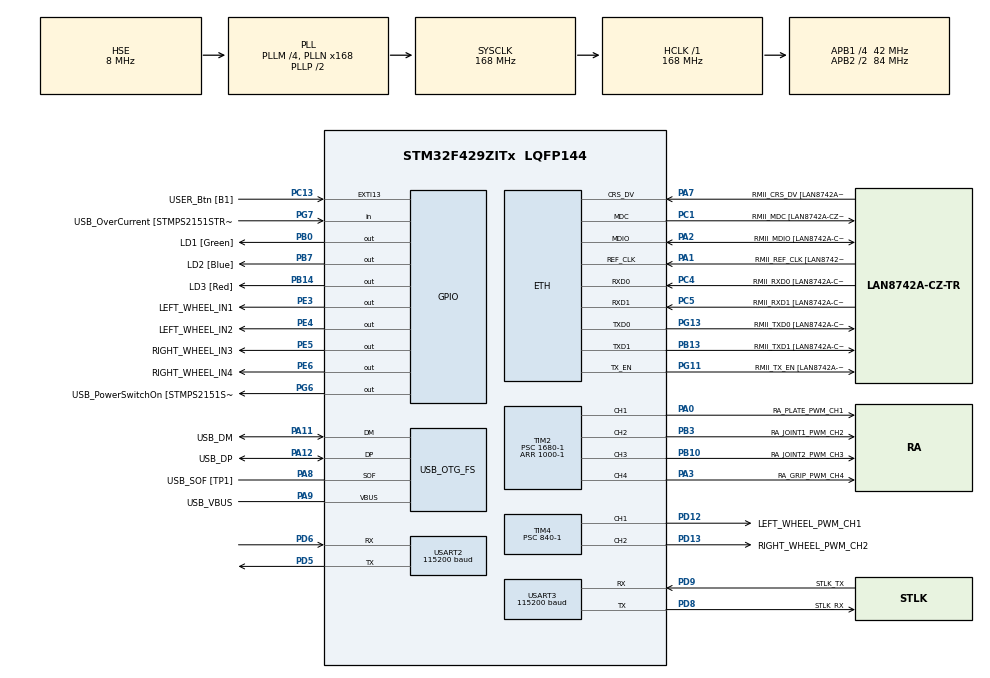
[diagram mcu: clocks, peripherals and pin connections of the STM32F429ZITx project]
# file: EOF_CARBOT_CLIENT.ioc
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ETH.MediaInterface=HAL_ETH_RMII_MODE
ETH.PHY_Name=LAN8742A_PHY_ADDRESS
ETH.PHY_Value=0
ETH.PhyAddress=0
FREERTOS.Queues01=Control_value_queue,16,QueueItem,0,Dynamic,NULL,NULL
FREERTOS.Tasks01=defaultTask,24,128,StartDefaultTask,Default,NULL,Dynamic,NULL,NULL;ctrl_RC_Car,8,128,control_RC_car,Default,NULL,Dynamic,NULL,NULL;ctrl_Robot_Arm,8,128,control_robot_arm,Default,NULL,Dynamic,NULL,NULL;listen_cv,8,128,listen_control_value,Default,NULL,Dynamic,NULL,NULL
FREERTOS.configUSE_NEWLIB_REENTRANT=1
FREERTOS.configUSE_OS2_EVENTFLAGS_FROM_ISR=1
FREERTOS.configUSE_OS2_MUTEX=1
FREERTOS.configUSE_OS2_THREAD_ENUMERATE=1
FREERTOS.configUSE_OS2_THREAD_FLAGS=1
FREERTOS.configUSE_OS2_THREAD_SUSPEND_RESUME=1
FREERTOS.configUSE_OS2_TIMER=1
Mcu.Family=STM32F4
Mcu.Name=STM32F429ZITx
Mcu.Package=LQFP144
NVIC.PriorityGroup=NVIC_PRIORITYGROUP_4
NVIC.TIM1_TRG_COM_TIM11_IRQn=true\:15\:0\:false\:false\:true\:false\:false\:true\:true
NVIC.TIM6_DAC_IRQn=true\:5\:0\:false\:false\:true\:true\:true\:true\:true
NVIC.TimeBase=TIM1_TRG_COM_TIM11_IRQn
NVIC.TimeBaseIP=TIM11
NVIC.USART2_IRQn=true\:5\:0\:false\:false\:true\:true\:true\:true\:true
NVIC.USART3_IRQn=true\:5\:0\:false\:false\:true\:true\:true\:true\:true
PA0/WKUP.GPIO_Label=RA_PLATE_PWM_CH1
PA0/WKUP.Signal=S_TIM2_CH1_ETR
PA1.GPIO_Label=RMII_REF_CLK [LAN8742A-CZ-TR_REFCLK0]
PA1.Mode=RMII
PA1.Signal=ETH_REF_CLK
PA10.GPIO_Label=USB_ID
PA10.Signal=USB_OTG_FS_ID
PA11.GPIO_Label=USB_DM
PA11.Mode=Device_Only
PA11.Signal=USB_OTG_FS_DM
PA12.GPIO_Label=USB_DP
PA12.Mode=Device_Only
PA12.Signal=USB_OTG_FS_DP
PA13.GPIO_Label=TMS
PA13.Mode=Serial_Wire
PA13.Signal=SYS_JTMS-SWDIO
PA14.GPIO_Label=TCK
PA14.Mode=Serial_Wire
PA14.Signal=SYS_JTCK-SWCLK
PA2.GPIO_Label=RMII_MDIO [LAN8742A-CZ-TR_MDIO]
PA2.Mode=RMII
PA2.Signal=ETH_MDIO
PA3.GPIO_Label=RA_GRIP_PWM_CH4
PA3.Signal=S_TIM2_CH4
PA7.GPIO_Label=RMII_CRS_DV [LAN8742A-CZ-TR_CRS_DV]
PA7.Mode=RMII
PA7.Signal=ETH_CRS_DV
PA8.GPIO_Label=USB_SOF [TP1]
PA8.Mode=Activate_SOF_FS
PA8.Signal=USB_OTG_FS_SOF
PA9.GPIO_Label=USB_VBUS
PA9.Mode=Activate_VBUS
PA9.Signal=USB_OTG_FS_VBUS
PB0.GPIO_Label=LD1 [Green]
PB0.Signal=GPIO_Output
PB10.GPIO_Label=RA_JOINT2_PWM_CH3
PB10.Signal=S_TIM2_CH3
PB13.GPIO_Label=RMII_TXD1 [LAN8742A-CZ-TR_TXD1]
PB13.Mode=RMII
PB13.Signal=ETH_TXD1
PB14.GPIO_Label=LD3 [Red]
PB14.Signal=GPIO_Output
PB3.GPIO_Label=RA_JOINT1_PWM_CH2
PB3.Signal=S_TIM2_CH2
PB7.GPIO_Label=LD2 [Blue]
PB7.Signal=GPIO_Output
PC1.GPIO_Label=RMII_MDC [LAN8742A-CZ-TR_MDC]
PC1.Mode=RMII
PC1.Signal=ETH_MDC
PC13.GPIO_Label=USER_Btn [B1]
PC13.Signal=GPXTI13
PC14/OSC32_IN.Mode=LSE-External-Oscillator
PC14/OSC32_IN.Signal=RCC_OSC32_IN
PC15/OSC32_OUT.Mode=LSE-External-Oscillator
PC15/OSC32_OUT.Signal=RCC_OSC32_OUT
PC4.GPIO_Label=RMII_RXD0 [LAN8742A-CZ-TR_RXD0]
PC4.Mode=RMII
PC4.Signal=ETH_RXD0
PC5.GPIO_Label=RMII_RXD1 [LAN8742A-CZ-TR_RXD1]
PC5.Mode=RMII
PC5.Signal=ETH_RXD1
PD12.GPIO_Label=LEFT_WHEEL_PWM_CH1
PD12.Signal=S_TIM4_CH1
PD13.GPIO_Label=RIGHT_WHEEL_PWM_CH2
PD13.Signal=S_TIM4_CH2
PD5.Mode=Asynchronous
PD5.Signal=USART2_TX
PD6.Mode=Asynchronous
PD6.Signal=USART2_RX
PD8.GPIO_Label=STLK_RX
PD8.Mode=Asynchronous
PD8.Signal=USART3_TX
PD9.GPIO_Label=STLK_TX
PD9.Mode=Asynchronous
PD9.Signal=USART3_RX
PE3.GPIO_Label=LEFT_WHEEL_IN1
PE3.Signal=GPIO_Output
PE4.GPIO_Label=LEFT_WHEEL_IN2
PE4.Signal=GPIO_Output
PE5.GPIO_Label=RIGHT_WHEEL_IN3
PE5.Signal=GPIO_Output
PE6.GPIO_Label=RIGHT_WHEEL_IN4
PE6.Signal=GPIO_Output
PG11.GPIO_Label=RMII_TX_EN [LAN8742A-CZ-TR_TXEN]
PG11.Mode=RMII
PG11.Signal=ETH_TX_EN
PG13.GPIO_Label=RMII_TXD0 [LAN8742A-CZ-TR_TXD0]
PG13.Mode=RMII
PG13.Signal=ETH_TXD0
PG6.GPIO_Label=USB_PowerSwitchOn [STMPS2151STR_EN]
PG6.Signal=GPIO_Output
PG7.GPIO_Label=USB_OverCurrent [STMPS2151STR_FAULT]
PG7.Signal=GPIO_Input
PH0/OSC_IN.GPIO_Label=MCO [STM32F103CBT6_PA8]
PH0/OSC_IN.Mode=HSE-External-Clock-Source
PH0/OSC_IN.Signal=RCC_OSC_IN
PH1/OSC_OUT.Mode=HSE-External-Clock-Source
PH1/OSC_OUT.Signal=RCC_OSC_OUT
ProjectManager.HeapSize=0x200
ProjectManager.StackSize=0x400
ProjectManager.TargetToolchain=STM32CubeIDE
RCC.48MHZClocksFreq_Value=48000000
RCC.AHBFreq_Value=168000000
RCC.APB1CLKDivider=RCC_HCLK_DIV4
RCC.APB1Freq_Value=42000000
RCC.APB1TimFreq_Value=84000000
RCC.APB2CLKDivider=RCC_HCLK_DIV2
RCC.APB2Freq_Value=84000000
RCC.APB2TimCLKDivider=2
RCC.APB2TimFreq_Value=168000000
RCC.CortexFreq_Value=168000000
RCC.HCLKFreq_Value=168000000
RCC.HSE_VALUE=8000000
RCC.HSI_VALUE=16000000
RCC.PLLM=4
RCC.PLLMUL=RCC_PLL_MUL9
RCC.PLLN=168
RCC.PLLQ=7
RCC.PRESCALERUSB=RCC_USBCLKSOURCE_PLL_DIV1_5
RCC.SYSCLKFreq_VALUE=168000000
RCC.SYSCLKSource=RCC_SYSCLKSOURCE_PLLCLK
RCC.SYSCLKSourceVirtual=RCC_SYSCLKSOURCE_PLLCLK
RCC.USBFreq_Value=48000000
RCC.VCOOutputFreq_Value=336000000
SH.S_TIM2_CH1_ETR.0=TIM2_CH1,PWM Generation1 CH1
SH.S_TIM2_CH2.0=TIM2_CH2,PWM Generation2 CH2
SH.S_TIM2_CH3.0=TIM2_CH3,PWM Generation3 CH3
SH.S_TIM2_CH4.0=TIM2_CH4,PWM Generation4 CH4
SH.S_TIM4_CH1.0=TIM4_CH1,PWM Generation1 CH1
SH.S_TIM4_CH2.0=TIM4_CH2,PWM Generation2 CH2
TIM2.Channel-PWM\ Generation1\ CH1=TIM_CHANNEL_1
TIM2.Channel-PWM\ Generation2\ CH2=TIM_CHANNEL_2
TIM2.Channel-PWM\ Generation3\ CH3=TIM_CHANNEL_3
TIM2.Channel-PWM\ Generation4\ CH4=TIM_CHANNEL_4
TIM2.Period=1000-1
TIM2.Prescaler=1680-1
TIM2.Pulse-PWM\ Generation1\ CH1=75-1
TIM2.Pulse-PWM\ Generation2\ CH2=75-1
TIM2.Pulse-PWM\ Generation3\ CH3=75-1
TIM2.Pulse-PWM\ Generation4\ CH4=75-1
TIM4.Channel-PWM\ Generation1\ CH1=TIM_CHANNEL_1
TIM4.Channel-PWM\ Generation2\ CH2=TIM_CHANNEL_2
TIM4.OCFastMode_PWM-PWM\ Generation1\ CH1=TIM_OCFAST_ENABLE
TIM4.OCFastMode_PWM-PWM\ Generation2\ CH2=TIM_OCFAST_ENABLE
TIM4.Period=100-1
TIM4.Prescaler=840-1
TIM4.Pulse-PWM\ Generation1\ CH1=70-1
TIM4.Pulse-PWM\ Generation2\ CH2=70-1
TIM6.Prescaler=84-1
USART2.BaudRate=115200
USART2.VirtualMode=VM_ASYNC
USART3.BaudRate=115200
USART3.VirtualMode=VM_ASYNC
USB_OTG_FS.VirtualMode=Device_Only
VP_FREERTOS_VS_CMSIS_V2.Mode=CMSIS_V2
VP_SYS_VS_tim11.Mode=TIM11
VP_TIM4_VS_ClockSourceINT.Mode=Internal
VP_TIM6_VS_ClockSourceINT.Mode=Enable_Timer
board=NUCLEO-F429ZI

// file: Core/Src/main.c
/* USER CODE BEGIN Header */
/**
  ******************************************************************************
  * @file           : main.c
  * @brief          : Main program body
  ******************************************************************************
  * @attention
  *
  * Copyright (c) 2024 STMicroelectronics.
  * All rights reserved.
  *
  * This software is licensed under terms that can be found in the LICENSE file
  * in the root directory of this software component.
  * If no LICENSE file comes with this software, it is provided AS-IS.
  *
  ******************************************************************************
  */
/* USER CODE END Header */
#include "main.h"
#include "string.h"
#include "cmsis_os.h"

/* USER CODE BEGIN Includes */
#include <stdio.h>
#include "dcmotor.h"
#include "servomotor.h"

/* USER CODE END Includes */

/* USER CODE BEGIN PTD */

// @add kenGwon 2/16
typedef struct
{
	char control_value[20];
} QueueItem;

/* USER CODE END PTD */

/* USER CODE BEGIN PD */

// @add kenGwon 2/16
#define QUEUE_MAX_TIMEOUT 10

/* USER CODE END PD */

ETH_TxPacketConfig TxConfig;
ETH_DMADescTypeDef  DMARxDscrTab[ETH_RX_DESC_CNT]; /* Ethernet Rx DMA Descriptors */
ETH_DMADescTypeDef  DMATxDscrTab[ETH_TX_DESC_CNT]; /* Ethernet Tx DMA Descriptors */

ETH_HandleTypeDef heth;

TIM_HandleTypeDef htim2;
TIM_HandleTypeDef htim4;
TIM_HandleTypeDef htim6;

UART_HandleTypeDef huart2;
UART_HandleTypeDef huart3;

PCD_HandleTypeDef hpcd_USB_OTG_FS;

/* Definitions for defaultTask */
osThreadId_t defaultTaskHandle;
const osThreadAttr_t defaultTask_attributes = {
  .name = "defaultTask",
  .stack_size = 128 * 4,
  .priority = (osPriority_t) osPriorityNormal,
};
/* Definitions for ctrl_RC_Car */
osThreadId_t ctrl_RC_CarHandle;
const osThreadAttr_t ctrl_RC_Car_attributes = {
  .name = "ctrl_RC_Car",
  .stack_size = 128 * 4,
  .priority = (osPriority_t) osPriorityLow,
};
/* Definitions for ctrl_Robot_Arm */
osThreadId_t ctrl_Robot_ArmHandle;
const osThreadAttr_t ctrl_Robot_Arm_attributes = {
  .name = "ctrl_Robot_Arm",
  .stack_size = 128 * 4,
  .priority = (osPriority_t) osPriorityLow,
};
/* Definitions for listen_cv */
osThreadId_t listen_cvHandle;
const osThreadAttr_t listen_cv_attributes = {
  .name = "listen_cv",
  .stack_size = 128 * 4,
  .priority = (osPriority_t) osPriorityLow,
};
/* Definitions for Control_value_queue */
osMessageQueueId_t Control_value_queueHandle;
const osMessageQueueAttr_t Control_value_queue_attributes = {
  .name = "Control_value_queue"
};

void SystemClock_Config(void);
static void MX_GPIO_Init(void);
static void MX_ETH_Init(void);
static void MX_USB_OTG_FS_PCD_Init(void);
static void MX_TIM4_Init(void);
static void MX_TIM6_Init(void);
static void MX_TIM2_Init(void);
static void MX_USART2_UART_Init(void);
static void MX_USART3_UART_Init(void);
void StartDefaultTask(void *argument);
void control_RC_car(void *argument);
void control_robot_arm(void *argument);
void listen_control_value(void *argument);

/* USER CODE BEGIN 0 */

//----------  printf start ----------
#ifdef __GNUC__
/* With GCC, small printf (option LD Linker->Libraries->Small printf
   set to 'Yes') calls __io_putchar() */
#define PUTCHAR_PROTOTYPE int __io_putchar(int ch)
#else
#define PUTCHAR_PROTOTYPE int fputc(int ch, FILE *f)
#endif /* __GNUC_ */
/**
  * @brief  Retargets the C library printf function to the USART.
  * @param  None
  * @retval None
  */
PUTCHAR_PROTOTYPE   // Add for printf
{
  /* Place your implementation of fputc here */
  /* e.g. write a character to the USART3 and Loop until the end of transmission */
  HAL_UART_Transmit(&huart3, (uint8_t *)&ch, 1, 0xFFFF);

  return ch;
}
//----------  printf end ----------

/* USER CODE END 0 */

int main(void)
{

  /* MCU Configuration--------------------------------------------------------*/

  /* Reset of all peripherals, Initializes the Flash interface and the Systick. */
  HAL_Init();

  /* Configure the system clock */
  SystemClock_Config();

  /* Initialize all configured peripherals */
  MX_GPIO_Init();
  MX_ETH_Init();
  MX_USB_OTG_FS_PCD_Init();
  MX_TIM4_Init();
  MX_TIM6_Init();
  MX_TIM2_Init();
  MX_USART2_UART_Init();
  MX_USART3_UART_Init();
  /* USER CODE BEGIN 2 */

  printf("start EOR_CARBOT_CLIENT !!\n");
  HAL_TIM_Base_Start_IT(&htim6); // timer for delay_ms()

  /* USER CODE END 2 */

  /* Init scheduler */
  osKernelInitialize();

  /* Create the queue(s) */
  /* creation of Control_value_queue */
  Control_value_queueHandle = osMessageQueueNew (16, sizeof(QueueItem), &Control_value_queue_attributes);

  /* Create the thread(s) */
  /* creation of defaultTask */
  defaultTaskHandle = osThreadNew(StartDefaultTask, NULL, &defaultTask_attributes);

  /* creation of ctrl_RC_Car */
  ctrl_RC_CarHandle = osThreadNew(control_RC_car, NULL, &ctrl_RC_Car_attributes);

  /* creation of ctrl_Robot_Arm */
  ctrl_Robot_ArmHandle = osThreadNew(control_robot_arm, NULL, &ctrl_Robot_Arm_attributes);

  /* creation of listen_cv */
  listen_cvHandle = osThreadNew(listen_control_value, NULL, &listen_cv_attributes);

  /* Start scheduler */
  osKernelStart();
  /* We should never get here as control is now taken by the scheduler */
  /* Infinite loop */
  while (1)
  {

  }
}

void SystemClock_Config(void)
{
  RCC_OscInitTypeDef RCC_OscInitStruct = {0};
  RCC_ClkInitTypeDef RCC_ClkInitStruct = {0};

  /** Configure the main internal regulator output voltage
  */
  __HAL_RCC_PWR_CLK_ENABLE();
  __HAL_PWR_VOLTAGESCALING_CONFIG(PWR_REGULATOR_VOLTAGE_SCALE1);

  /** Initializes the RCC Oscillators according to the specified parameters
  * in the RCC_OscInitTypeDef structure.
  */
  RCC_OscInitStruct.OscillatorType = RCC_OSCILLATORTYPE_HSE;
  RCC_OscInitStruct.HSEState = RCC_HSE_BYPASS;
  RCC_OscInitStruct.PLL.PLLState = RCC_PLL_ON;
  RCC_OscInitStruct.PLL.PLLSource = RCC_PLLSOURCE_HSE;
  RCC_OscInitStruct.PLL.PLLM = 4;
  RCC_OscInitStruct.PLL.PLLN = 168;
  RCC_OscInitStruct.PLL.PLLP = RCC_PLLP_DIV2;
  RCC_OscInitStruct.PLL.PLLQ = 7;
  if (HAL_RCC_OscConfig(&RCC_OscInitStruct) != HAL_OK)
  {
    Error_Handler();
  }

  /** Initializes the CPU, AHB and APB buses clocks
  */
  RCC_ClkInitStruct.ClockType = RCC_CLOCKTYPE_HCLK|RCC_CLOCKTYPE_SYSCLK
                              |RCC_CLOCKTYPE_PCLK1|RCC_CLOCKTYPE_PCLK2;
  RCC_ClkInitStruct.SYSCLKSource = RCC_SYSCLKSOURCE_PLLCLK;
  RCC_ClkInitStruct.AHBCLKDivider = RCC_SYSCLK_DIV1;
  RCC_ClkInitStruct.APB1CLKDivider = RCC_HCLK_DIV4;
  RCC_ClkInitStruct.APB2CLKDivider = RCC_HCLK_DIV2;

  if (HAL_RCC_ClockConfig(&RCC_ClkInitStruct, FLASH_LATENCY_5) != HAL_OK)
  {
    Error_Handler();
  }
}

static void MX_ETH_Init(void)
{

   static uint8_t MACAddr[6];

  heth.Instance = ETH;
  MACAddr[0] = 0x00;
  MACAddr[1] = 0x80;
  MACAddr[2] = 0xE1;
  MACAddr[3] = 0x00;
  MACAddr[4] = 0x00;
  MACAddr[5] = 0x00;
  heth.Init.MACAddr = &MACAddr[0];
  heth.Init.MediaInterface = HAL_ETH_RMII_MODE;
  heth.Init.TxDesc = DMATxDscrTab;
  heth.Init.RxDesc = DMARxDscrTab;
  heth.Init.RxBuffLen = 1524;

  if (HAL_ETH_Init(&heth) != HAL_OK)
  {
    Error_Handler();
  }

  memset(&TxConfig, 0 , sizeof(ETH_TxPacketConfig));
  TxConfig.Attributes = ETH_TX_PACKETS_FEATURES_CSUM | ETH_TX_PACKETS_FEATURES_CRCPAD;
  TxConfig.ChecksumCtrl = ETH_CHECKSUM_IPHDR_PAYLOAD_INSERT_PHDR_CALC;
  TxConfig.CRCPadCtrl = ETH_CRC_PAD_INSERT;

}

static void MX_TIM2_Init(void)
{

  TIM_MasterConfigTypeDef sMasterConfig = {0};
  TIM_OC_InitTypeDef sConfigOC = {0};

  htim2.Instance = TIM2;
  htim2.Init.Prescaler = 1680-1;
  htim2.Init.CounterMode = TIM_COUNTERMODE_UP;
  htim2.Init.Period = 1000-1;
  htim2.Init.ClockDivision = TIM_CLOCKDIVISION_DIV1;
  htim2.Init.AutoReloadPreload = TIM_AUTORELOAD_PRELOAD_DISABLE;
  if (HAL_TIM_PWM_Init(&htim2) != HAL_OK)
  {
    Error_Handler();
  }
  sMasterConfig.MasterOutputTrigger = TIM_TRGO_RESET;
  sMasterConfig.MasterSlaveMode = TIM_MASTERSLAVEMODE_DISABLE;
  if (HAL_TIMEx_MasterConfigSynchronization(&htim2, &sMasterConfig) != HAL_OK)
  {
    Error_Handler();
  }
  sConfigOC.OCMode = TIM_OCMODE_PWM1;
  sConfigOC.Pulse = 75-1;
  sConfigOC.OCPolarity = TIM_OCPOLARITY_HIGH;
  sConfigOC.OCFastMode = TIM_OCFAST_DISABLE;
  if (HAL_TIM_PWM_ConfigChannel(&htim2, &sConfigOC, TIM_CHANNEL_1) != HAL_OK)
  {
    Error_Handler();
  }
  if (HAL_TIM_PWM_ConfigChannel(&htim2, &sConfigOC, TIM_CHANNEL_2) != HAL_OK)
  {
    Error_Handler();
  }
  if (HAL_TIM_PWM_ConfigChannel(&htim2, &sConfigOC, TIM_CHANNEL_3) != HAL_OK)
  {
    Error_Handler();
  }
  if (HAL_TIM_PWM_ConfigChannel(&htim2, &sConfigOC, TIM_CHANNEL_4) != HAL_OK)
  {
    Error_Handler();
  }
  HAL_TIM_MspPostInit(&htim2);

}

static void MX_TIM4_Init(void)
{

  TIM_ClockConfigTypeDef sClockSourceConfig = {0};
  TIM_MasterConfigTypeDef sMasterConfig = {0};
  TIM_OC_InitTypeDef sConfigOC = {0};

  htim4.Instance = TIM4;
  htim4.Init.Prescaler = 840-1;
  htim4.Init.CounterMode = TIM_COUNTERMODE_UP;
  htim4.Init.Period = 100-1;
  htim4.Init.ClockDivision = TIM_CLOCKDIVISION_DIV1;
  htim4.Init.AutoReloadPreload = TIM_AUTORELOAD_PRELOAD_DISABLE;
  if (HAL_TIM_Base_Init(&htim4) != HAL_OK)
  {
    Error_Handler();
  }
  sClockSourceConfig.ClockSource = TIM_CLOCKSOURCE_INTERNAL;
  if (HAL_TIM_ConfigClockSource(&htim4, &sClockSourceConfig) != HAL_OK)
  {
    Error_Handler();
  }
  if (HAL_TIM_PWM_Init(&htim4) != HAL_OK)
  {
    Error_Handler();
  }
  sMasterConfig.MasterOutputTrigger = TIM_TRGO_RESET;
  sMasterConfig.MasterSlaveMode = TIM_MASTERSLAVEMODE_DISABLE;
  if (HAL_TIMEx_MasterConfigSynchronization(&htim4, &sMasterConfig) != HAL_OK)
  {
    Error_Handler();
  }
  sConfigOC.OCMode = TIM_OCMODE_PWM1;
  sConfigOC.Pulse = 70-1;
  sConfigOC.OCPolarity = TIM_OCPOLARITY_HIGH;
  sConfigOC.OCFastMode = TIM_OCFAST_ENABLE;
  if (HAL_TIM_PWM_ConfigChannel(&htim4, &sConfigOC, TIM_CHANNEL_1) != HAL_OK)
  {
    Error_Handler();
  }
  if (HAL_TIM_PWM_ConfigChannel(&htim4, &sConfigOC, TIM_CHANNEL_2) != HAL_OK)
  {
    Error_Handler();
  }
  HAL_TIM_MspPostInit(&htim4);

}

static void MX_TIM6_Init(void)
{

  TIM_MasterConfigTypeDef sMasterConfig = {0};

  htim6.Instance = TIM6;
  htim6.Init.Prescaler = 84-1;
  htim6.Init.CounterMode = TIM_COUNTERMODE_UP;
  htim6.Init.Period = 65535;
  htim6.Init.AutoReloadPreload = TIM_AUTORELOAD_PRELOAD_DISABLE;
  if (HAL_TIM_Base_Init(&htim6) != HAL_OK)
  {
    Error_Handler();
  }
  sMasterConfig.MasterOutputTrigger = TIM_TRGO_RESET;
  sMasterConfig.MasterSlaveMode = TIM_MASTERSLAVEMODE_DISABLE;
  if (HAL_TIMEx_MasterConfigSynchronization(&htim6, &sMasterConfig) != HAL_OK)
  {
    Error_Handler();
  }

}

static void MX_USART2_UART_Init(void)
{

  huart2.Instance = USART2;
  huart2.Init.BaudRate = 115200;
  huart2.Init.WordLength = UART_WORDLENGTH_8B;
  huart2.Init.StopBits = UART_STOPBITS_1;
  huart2.Init.Parity = UART_PARITY_NONE;
  huart2.Init.Mode = UART_MODE_TX_RX;
  huart2.Init.HwFlowCtl = UART_HWCONTROL_NONE;
  huart2.Init.OverSampling = UART_OVERSAMPLING_16;
  if (HAL_UART_Init(&huart2) != HAL_OK)
  {
    Error_Handler();
  }

}

static void MX_USART3_UART_Init(void)
{

  huart3.Instance = USART3;
  huart3.Init.BaudRate = 115200;
  huart3.Init.WordLength = UART_WORDLENGTH_8B;
  huart3.Init.StopBits = UART_STOPBITS_1;
  huart3.Init.Parity = UART_PARITY_NONE;
  huart3.Init.Mode = UART_MODE_TX_RX;
  huart3.Init.HwFlowCtl = UART_HWCONTROL_NONE;
  huart3.Init.OverSampling = UART_OVERSAMPLING_16;
  if (HAL_UART_Init(&huart3) != HAL_OK)
  {
    Error_Handler();
  }

}

static void MX_USB_OTG_FS_PCD_Init(void)
{

  hpcd_USB_OTG_FS.Instance = USB_OTG_FS;
  hpcd_USB_OTG_FS.Init.dev_endpoints = 4;
  hpcd_USB_OTG_FS.Init.speed = PCD_SPEED_FULL;
  hpcd_USB_OTG_FS.Init.dma_enable = DISABLE;
  hpcd_USB_OTG_FS.Init.phy_itface = PCD_PHY_EMBEDDED;
  hpcd_USB_OTG_FS.Init.Sof_enable = ENABLE;
  hpcd_USB_OTG_FS.Init.low_power_enable = DISABLE;
  hpcd_USB_OTG_FS.Init.lpm_enable = DISABLE;
  hpcd_USB_OTG_FS.Init.vbus_sensing_enable = ENABLE;
  hpcd_USB_OTG_FS.Init.use_dedicated_ep1 = DISABLE;
  if (HAL_PCD_Init(&hpcd_USB_OTG_FS) != HAL_OK)
  {
    Error_Handler();
  }

}

static void MX_GPIO_Init(void)
{
  GPIO_InitTypeDef GPIO_InitStruct = {0};

  /* GPIO Ports Clock Enable */
  __HAL_RCC_GPIOE_CLK_ENABLE();
  __HAL_RCC_GPIOC_CLK_ENABLE();
  __HAL_RCC_GPIOH_CLK_ENABLE();
  __HAL_RCC_GPIOA_CLK_ENABLE();
  __HAL_RCC_GPIOB_CLK_ENABLE();
  __HAL_RCC_GPIOD_CLK_ENABLE();
  __HAL_RCC_GPIOG_CLK_ENABLE();

  /*Configure GPIO pin Output Level */
  HAL_GPIO_WritePin(GPIOE, LEFT_WHEEL_IN1_Pin|LEFT_WHEEL_IN2_Pin|RIGHT_WHEEL_IN3_Pin|RIGHT_WHEEL_IN4_Pin, GPIO_PIN_RESET);

  /*Configure GPIO pin Output Level */
  HAL_GPIO_WritePin(GPIOB, LD1_Pin|LD3_Pin|LD2_Pin, GPIO_PIN_RESET);

  /*Configure GPIO pin Output Level */
  HAL_GPIO_WritePin(USB_PowerSwitchOn_GPIO_Port, USB_PowerSwitchOn_Pin, GPIO_PIN_RESET);

  /*Configure GPIO pins : LEFT_WHEEL_IN1_Pin LEFT_WHEEL_IN2_Pin RIGHT_WHEEL_IN3_Pin RIGHT_WHEEL_IN4_Pin */
  GPIO_InitStruct.Pin = LEFT_WHEEL_IN1_Pin|LEFT_WHEEL_IN2_Pin|RIGHT_WHEEL_IN3_Pin|RIGHT_WHEEL_IN4_Pin;
  GPIO_InitStruct.Mode = GPIO_MODE_OUTPUT_PP;
  GPIO_InitStruct.Pull = GPIO_NOPULL;
  GPIO_InitStruct.Speed = GPIO_SPEED_FREQ_LOW;
  HAL_GPIO_Init(GPIOE, &GPIO_InitStruct);

  /*Configure GPIO pin : USER_Btn_Pin */
  GPIO_InitStruct.Pin = USER_Btn_Pin;
  GPIO_InitStruct.Mode = GPIO_MODE_IT_RISING;
  GPIO_InitStruct.Pull = GPIO_NOPULL;
  HAL_GPIO_Init(USER_Btn_GPIO_Port, &GPIO_InitStruct);

  /*Configure GPIO pins : LD1_Pin LD3_Pin LD2_Pin */
  GPIO_InitStruct.Pin = LD1_Pin|LD3_Pin|LD2_Pin;
  GPIO_InitStruct.Mode = GPIO_MODE_OUTPUT_PP;
  GPIO_InitStruct.Pull = GPIO_NOPULL;
  GPIO_InitStruct.Speed = GPIO_SPEED_FREQ_LOW;
  HAL_GPIO_Init(GPIOB, &GPIO_InitStruct);

  /*Configure GPIO pin : USB_PowerSwitchOn_Pin */
  GPIO_InitStruct.Pin = USB_PowerSwitchOn_Pin;
  GPIO_InitStruct.Mode = GPIO_MODE_OUTPUT_PP;
  GPIO_InitStruct.Pull = GPIO_NOPULL;
  GPIO_InitStruct.Speed = GPIO_SPEED_FREQ_LOW;
  HAL_GPIO_Init(USB_PowerSwitchOn_GPIO_Port, &GPIO_InitStruct);

  /*Configure GPIO pin : USB_OverCurrent_Pin */
  GPIO_InitStruct.Pin = USB_OverCurrent_Pin;
  GPIO_InitStruct.Mode = GPIO_MODE_INPUT;
  GPIO_InitStruct.Pull = GPIO_NOPULL;
  HAL_GPIO_Init(USB_OverCurrent_GPIO_Port, &GPIO_InitStruct);

}

void StartDefaultTask(void *argument)
{
  /* USER CODE BEGIN 5 */

  //////////////////// @add kenGwon @2/16 ////////////////////
  if (osThreadTerminate(ctrl_RC_CarHandle))
	  perror("ctrl RC car Terminate");
  if (osThreadTerminate(ctrl_Robot_ArmHandle))
	  perror("ctrl Robot arm Terminate");
  if (osThreadTerminate(listen_cvHandle))
	  perror("listen cv Terminate");

  /* Infinite loop */
  for(;;)
  {

    ctrl_RC_CarHandle = osThreadNew(control_RC_car, NULL, &ctrl_RC_Car_attributes);
    ctrl_Robot_ArmHandle = osThreadNew(control_robot_arm, NULL, &ctrl_Robot_Arm_attributes);
    listen_cvHandle = osThreadNew(listen_control_value, NULL, &listen_cv_attributes);

    osDelay(1);
  }
  /* USER CODE END 5 */
}

void control_RC_car(void *argument)
{
  /* USER CODE BEGIN control_RC_car */
  char cv_str[20];
  int32_t cv_int[4];
  init_RCcar();
  /* Infinite loop */
  for(;;)
  {
	osMessageQueueGet(Control_value_queueHandle, cv_str, NULL, QUEUE_MAX_TIMEOUT);
//	decode_contol_value(cv_str, cv_int);
	move_RCcar(cv_int);
    osDelay(1);
  }
  /* USER CODE END control_RC_car */
}

void control_robot_arm(void *argument)
{
  /* USER CODE BEGIN control_robot_arm */
  char cv_str[20];
  int32_t cv_int[4];
  init_RobotArm();
  /* Infinite loop */
  for(;;)
  {
	osMessageQueueGet(Control_value_queueHandle, cv_str, NULL, QUEUE_MAX_TIMEOUT);
//	decode_contol_value(cv_str, cv_int);
	move_RobotArm(cv_int);
	osDelay(1);
  }
  /* USER CODE END control_robot_arm */
}

void listen_control_value(void *argument)
{
  /* USER CODE BEGIN listen_control_value */
  /* Infinite loop */
  for(;;)
  {

#if 0 // test for nodeMCU
  while(1)
  {
	  uint8_t receivedData[100] = "";

	  HAL_UART_Receive(&huart2, (uint8_t*)receivedData, sizeof(receivedData) - 1, 100);
//	  receivedData[sizeof(receivedData)-1] = '\0';

	  printf("test\n");
	  printf("receivedData: %s\n", receivedData);

	  HAL_Delay(10);
  }
#endif

    osDelay(1);
  }
  /* USER CODE END listen_control_value */
}

void HAL_TIM_PeriodElapsedCallback(TIM_HandleTypeDef *htim)
{
  if (htim->Instance == TIM11) {
    HAL_IncTick();
  }
}

void Error_Handler(void)
{
  __disable_irq();
  while (1)
  {
  }
}
